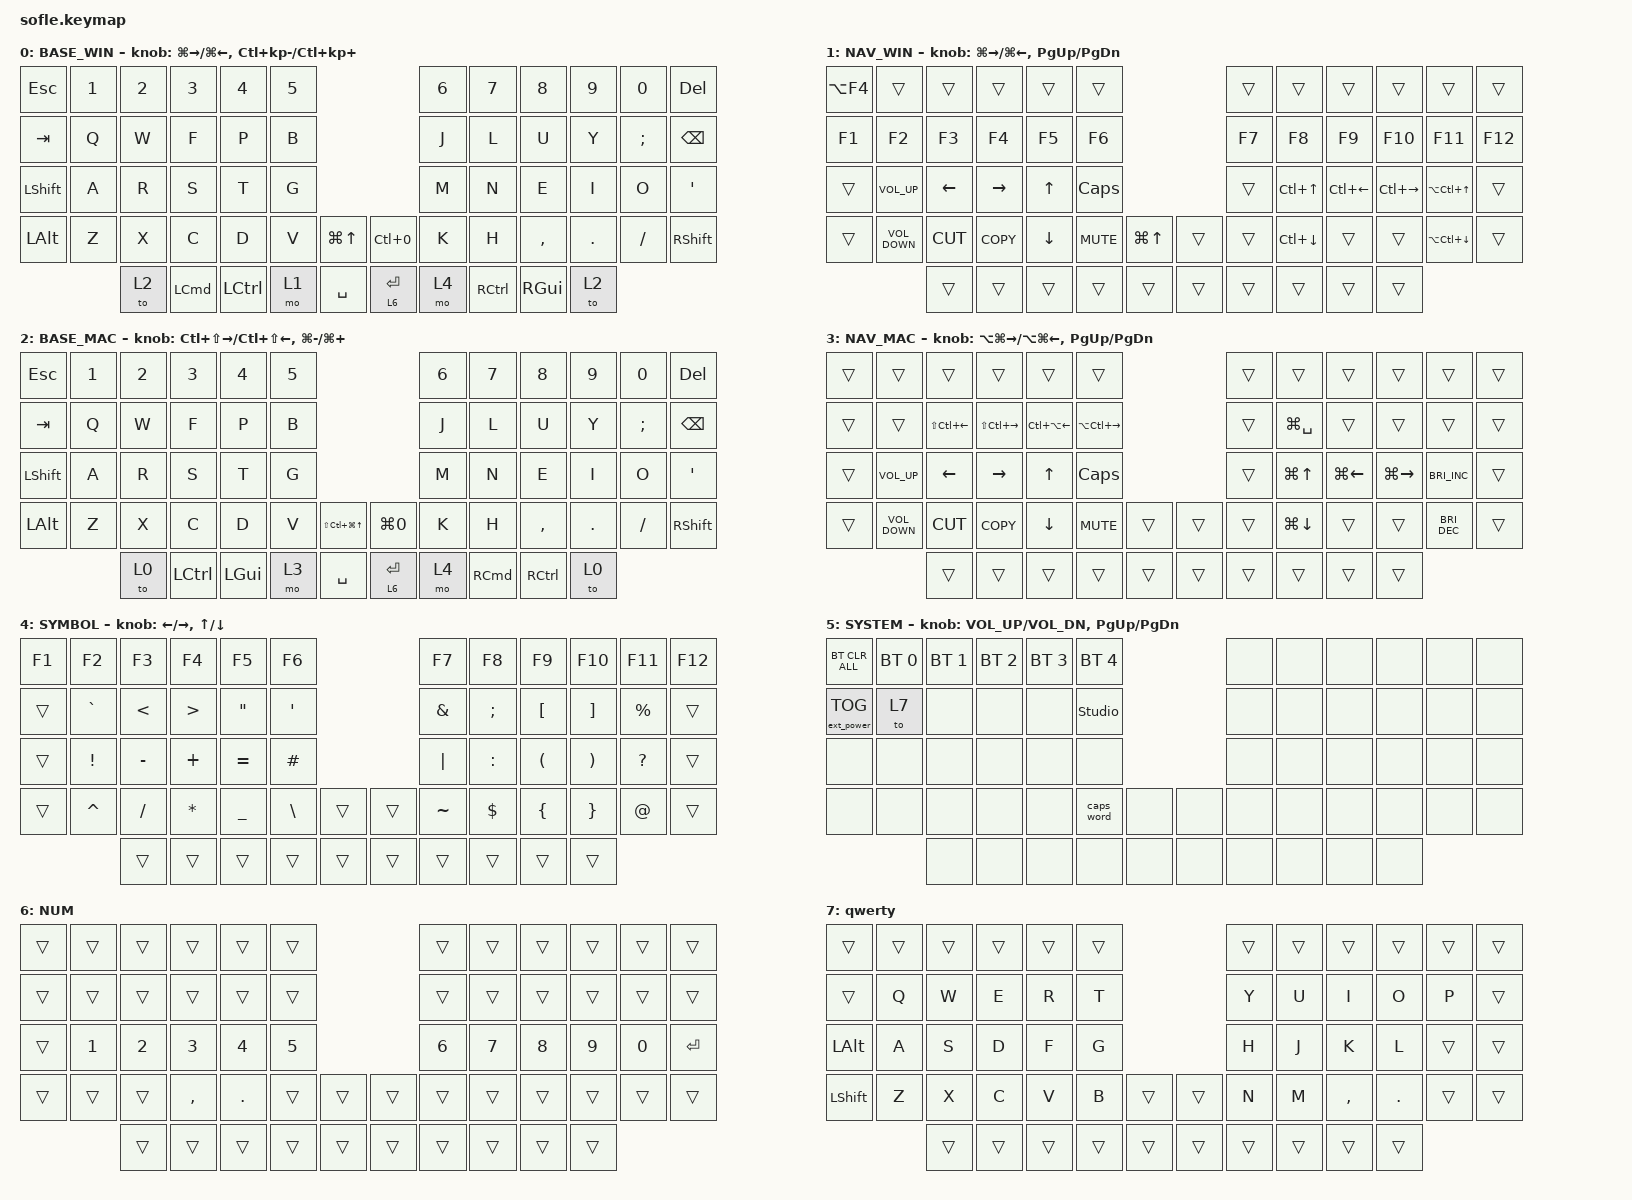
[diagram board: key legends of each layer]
/*
 * Copyright (c) 2020 The ZMK Contributors
 *
 * SPDX-License-Identifier: MIT
 */

#include <behaviors.dtsi>
#include <dt-bindings/zmk/bt.h>
#include <dt-bindings/zmk/ext_power.h>
#include <dt-bindings/zmk/keys.h>

// Encoders

&sensors { triggers-per-rotation = <30>; };

&left_encoder { steps = <60>; };

&right_encoder { steps = <60>; };

#define BASE 0
#define LOWER 1
#define RAISE 2
#define ADJUST 3

/ {
    // Activate ADJUST layer by pressing raise and lower

    conditional_layers {
        compatible = "zmk,conditional-layers";

        SYSTEM_MAC {
            if-layers = <4 3>;
            then-layer = <5>;
        };

        SYSTEM_WIN {
            if-layers = <4 1>;
            then-layer = <5>;
        };
    };

    combos { compatible = "zmk,combos"; };

    behaviors {
        caps: caps {
            compatible = "zmk,behavior-caps-word";
            label = "CAPS";
            #binding-cells = <0>;
            continue-list = <POUND MINUS BACKSPACE UNDERSCORE>;
        };
    };

    keymap {
        compatible = "zmk,keymap";

        BASE_WIN {
            display-name = "BASE_WIN";
            bindings = <
&kp ESC         &kp N1  &kp N2  &kp N3            &kp N4            &kp N5                                  &kp N6  &kp N7             &kp N8         &kp N9   &kp N0         &kp DELETE
&kp TAB         &kp Q   &kp W   &kp F             &kp P             &kp B                                   &kp J   &kp L              &kp U          &kp Y    &kp SEMICOLON  &kp BSPC
&kp LEFT_SHIFT  &kp A   &kp R   &kp S             &kp T             &kp G                                   &kp M   &kp N              &kp E          &kp I    &kp O          &kp SQT
&kp LEFT_ALT    &kp Z   &kp X   &kp C             &kp D             &kp V   &kp LG(UP)    &kp LC(NUMBER_0)  &kp K   &kp H              &kp COMMA      &kp DOT  &kp FSLH       &kp RSHFT
                        &to 2   &kp LEFT_COMMAND  &kp LEFT_CONTROL  &mo 1   &kp SPACE     &lt 6 ENTER       &mo 4   &kp RIGHT_CONTROL  &kp RIGHT_GUI  &to 2
            >;

            sensor-bindings =
                <&inc_dec_kp LG(RIGHT) LG(LEFT)>,
                <&inc_dec_kp LC(KP_MINUS) LC(KP_PLUS)>;
        };

        NAV_WIN {
            display-name = "NAV_WIN";
            bindings = <
&kp LA(F4)  &trans             &trans          &trans           &trans          &trans                                  &trans  &trans        &trans        &trans         &trans                &trans
&kp F1      &kp F2             &kp F3          &kp F4           &kp F5          &kp F6                                  &kp F7  &kp F8        &kp F9        &kp F10        &kp F11               &kp F12
&trans      &kp C_VOLUME_UP    &kp LEFT_ARROW  &kp RIGHT_ARROW  &kp UP_ARROW    &kp CLCK                                &trans  &kp LC(UP)    &kp LC(LEFT)  &kp LC(RIGHT)  &kp LA(LC(UP_ARROW))  &trans
&trans      &kp C_VOLUME_DOWN  &kp K_CUT       &kp K_COPY       &kp DOWN_ARROW  &kp K_MUTE  &kp LG(UP_ARROW)    &trans  &trans  &kp LC(DOWN)  &trans        &trans         &kp LA(LC(DOWN))      &trans
                               &trans          &trans           &trans          &trans      &trans              &trans  &trans  &trans        &trans        &trans
            >;

            sensor-bindings =
                <&inc_dec_kp LG(RIGHT) LG(LEFT)>,
                <&inc_dec_kp PG_UP PG_DN>;
        };

        BASE_MAC {
            display-name = "BASE_MAC";

            // ------------------------------------------------------------------------------------------------------------
            // |   `   |  1  |  2  |  3   |  4   |  5   |                   |  6   |  7    |  8    |  9   |   0   |       |
            // |  ESC  |  Q  |  W  |  E   |  R   |  T   |                   |  Y   |  U    |  I    |  O   |   P   | BKSPC |
            // |  TAB  |  A  |  S  |  D   |  F   |  G   |                   |  H   |  J    |  K    |  L   |   ;   |   '   |
            // | SHIFT |  Z  |  X  |  C   |  V   |  B   |  MUTE  |  |       |  N   |  M    |  ,    |  .   |   /   | SHIFT |
            //               | GUI | ALT  | CTRL | LOWER|  ENTER |  | SPACE | RAISE| CTRL  | ALT   | GUI  |

            bindings = <
&kp ESC         &kp N1  &kp N2  &kp N3            &kp N4        &kp N5                                                &kp N6  &kp N7             &kp N8             &kp N9   &kp N0         &kp DELETE
&kp TAB         &kp Q   &kp W   &kp F             &kp P         &kp B                                                 &kp J   &kp L              &kp U              &kp Y    &kp SEMICOLON  &kp BSPC
&kp LEFT_SHIFT  &kp A   &kp R   &kp S             &kp T         &kp G                                                 &kp M   &kp N              &kp E              &kp I    &kp O          &kp SQT
&kp LEFT_ALT    &kp Z   &kp X   &kp C             &kp D         &kp V   &kp LS(LC(LG(UP_ARROW)))    &kp LG(NUMBER_0)  &kp K   &kp H              &kp COMMA          &kp DOT  &kp FSLH       &kp RSHFT
                        &to 0   &kp LEFT_CONTROL  &kp LEFT_GUI  &mo 3   &kp SPACE                   &lt 6 ENTER       &mo 4   &kp RIGHT_COMMAND  &kp RIGHT_CONTROL  &to 0
            >;

            sensor-bindings =
                <&inc_dec_kp LC(LS(RIGHT)) LC(LS(LEFT))>,
                <&inc_dec_kp LG(MINUS) LG(PLUS)>;
        };

        NAV_MAC {
            display-name = "NAV_MAC";

            // ------------------------------------------------------------------------------------------------------------
            // | BTCLR | BT1  | BT2  |  BT3  |  BT4  |  BT5 |                |      |      |       |      |       |       |
            // |       | INS  | PSCR | GUI   |       |      |                | PGUP |      |   ^   |      |       |       |
            // |       | ALT  | CTRL | SHIFT |       | CAPS |                | PGDN |   <- |   v   |  ->  |  DEL  | BKSPC |
            // |       | UNDO | CUT  | COPY  | PASTE |      |      |  |      |      |      |       |      |       |       |
            //                |      |       |       |      |      |  |      |      |      |       |      |

            bindings = <
&trans  &trans             &trans            &trans             &trans            &trans                               &trans  &trans         &trans        &trans         &trans                &trans
&trans  &trans             &kp LS(LC(LEFT))  &kp LS(LC(RIGHT))  &kp LC(LA(LEFT))  &kp LA(LC(RIGHT))                    &trans  &kp LG(SPACE)  &trans        &trans         &trans                &trans
&trans  &kp C_VOLUME_UP    &kp LEFT          &kp RIGHT          &kp UP            &kp CLCK                             &trans  &kp LG(UP)     &kp LG(LEFT)  &kp LG(RIGHT)  &kp C_BRIGHTNESS_INC  &trans
&trans  &kp C_VOLUME_DOWN  &kp K_CUT         &kp K_COPY         &kp DOWN          &kp K_MUTE         &trans    &trans  &trans  &kp LG(DOWN)   &trans        &trans         &kp C_BRIGHTNESS_DEC  &trans
                           &trans            &trans             &trans            &trans             &trans    &trans  &trans  &trans         &trans        &trans
            >;

            sensor-bindings =
                <&inc_dec_kp LA(LG(RIGHT)) LA(LG(LEFT))>,
                <&inc_dec_kp PG_UP PG_DN>;
        };

        SYMBOL {
            display-name = "SYMBOL";

            // TODO: Some binds are waiting for shifted keycode support.
            // ------------------------------------------------------------------------------------------------------------
            // |       |  F1 |  F2 |  F3  |  F4  |  F5  |                   |  F6  |  F7   |  F8   |  F9  |  F10  |  F11  |
            // |   `   |  1  |  2  |  3   |  4   |  5   |                   |  6   |  7    |  8    |  9   |   0   |  F12  |
            // |       |  !  |  @  |  #   |  $   |  %   |                   |  ^   |  &    |  *    |  (   |   )   |   |   |
            // |       |  =  |  -  |  +   |  {   |  }   |        |  |       |  [   |  ]    |  ;    |  :   |   \   |       |
            //               |     |      |      |      |        |  |       |      |       |       |      |

            bindings = <
&kp F1  &kp F2     &kp F3         &kp F4            &kp F5             &kp F6                           &kp F7         &kp F8         &kp F9                &kp F10                &kp F11       &kp F12
&trans  &kp GRAVE  &kp LESS_THAN  &kp GREATER_THAN  &kp DOUBLE_QUOTES  &kp SQT                          &kp AMPERSAND  &kp SEMICOLON  &kp LEFT_BRACKET      &kp RIGHT_BRACKET      &kp PERCENT   &trans
&trans  &kp EXCL   &kp MINUS      &kp PLUS          &kp EQUAL          &kp HASH                         &kp PIPE       &kp COLON      &kp LEFT_PARENTHESIS  &kp RIGHT_PARENTHESIS  &kp QUESTION  &trans
&trans  &kp CARET  &kp SLASH      &kp ASTERISK      &kp UNDERSCORE     &kp BACKSLASH  &trans    &trans  &kp TILDE      &kp DOLLAR     &kp LEFT_BRACE        &kp RIGHT_BRACE        &kp AT_SIGN   &trans
                   &trans         &trans            &trans             &trans         &trans    &trans  &trans         &trans         &trans                &trans
            >;

            sensor-bindings =
                <&inc_dec_kp LEFT_ARROW RIGHT_ARROW>,
                <&inc_dec_kp UP_ARROW DOWN_ARROW>;
        };

        SYSTEM {
            // ----------------------------------------------------------------------------------------------------------------------------
            // | BTCLR  |  BT1    |  BT2    |   BT3   |   BT4   |   BT5   |                  |      |      |       |      |       |       |
            // | EXTPWR | RGB_HUD | RGB_HUI | RGB_SAD | RGB_SAI | RGB_EFF |                  |      |      |       |      |       |       |
            // |        | RGB_BRD | RGB_BRI |         |         |         |                  |      |      |       |      |       |       |
            // |        |         |         |         |         |         | RGB_TOG | |      |      |      |       |      |       |       |
            //                    |         |         |         |         |         | |      |      |      |       |      |

            display-name = "SYSTEM";
            bindings = <
&bt BT_CLR_ALL     &bt BT_SEL 0  &bt BT_SEL 1  &bt BT_SEL 2  &bt BT_SEL 3  &bt BT_SEL 4                    &none  &none  &none  &none  &none  &none
&ext_power EP_TOG  &to 7         &none         &none         &none         &studio_unlock                  &none  &none  &none  &none  &none  &none
&none              &none         &none         &none         &none         &none                           &none  &none  &none  &none  &none  &none
&none              &none         &none         &none         &none         &caps_word      &none    &none  &none  &none  &none  &none  &none  &none
                                 &none         &none         &none         &none           &none    &none  &none  &none  &none  &none
            >;

            sensor-bindings = <&inc_dec_kp C_VOL_UP C_VOL_DN &inc_dec_kp PG_UP PG_DN>;
        };

        NUM {
            bindings = <
&trans  &trans  &trans  &trans     &trans   &trans                    &trans  &trans  &trans  &trans  &trans  &trans
&trans  &trans  &trans  &trans     &trans   &trans                    &trans  &trans  &trans  &trans  &trans  &trans
&trans  &kp N1  &kp N2  &kp N3     &kp N4   &kp N5                    &kp N6  &kp N7  &kp N8  &kp N9  &kp N0  &kp RET
&trans  &trans  &trans  &kp COMMA  &kp DOT  &trans  &trans    &trans  &trans  &trans  &trans  &trans  &trans  &trans
                &trans  &trans     &trans   &trans  &trans    &trans  &trans  &trans  &trans  &trans
            >;
        };

        qwerty {
            bindings = <
&trans          &trans  &trans  &trans  &trans  &trans                    &trans  &trans  &trans     &trans   &trans  &trans
&trans          &kp Q   &kp W   &kp E   &kp R   &kp T                     &kp Y   &kp U   &kp I      &kp O    &kp P   &trans
&kp LEFT_ALT    &kp A   &kp S   &kp D   &kp F   &kp G                     &kp H   &kp J   &kp K      &kp L    &trans  &trans
&kp LEFT_SHIFT  &kp Z   &kp X   &kp C   &kp V   &kp B   &trans    &trans  &kp N   &kp M   &kp COMMA  &kp DOT  &trans  &trans
                        &trans  &trans  &trans  &trans  &trans    &trans  &trans  &trans  &trans     &trans
            >;
        };
    };
};
